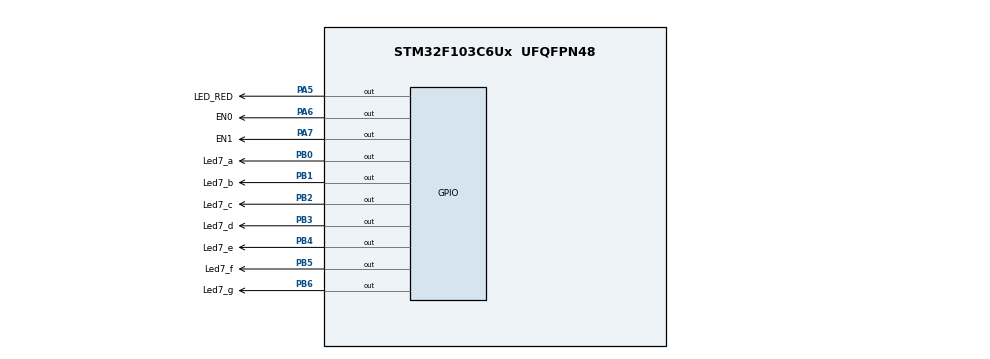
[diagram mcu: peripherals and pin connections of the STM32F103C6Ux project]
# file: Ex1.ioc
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Mcu.Family=STM32F1
Mcu.Name=STM32F103C6Ux
Mcu.Package=UFQFPN48
NVIC.PriorityGroup=NVIC_PRIORITYGROUP_4
NVIC.TIM2_IRQn=true\:0\:0\:false\:false\:true\:true\:true
PA5.GPIO_Label=LED_RED
PA5.Signal=GPIO_Output
PA6.GPIO_Label=EN0
PA6.Signal=GPIO_Output
PA7.GPIO_Label=EN1
PA7.Signal=GPIO_Output
PB0.GPIO_Label=Led7_a
PB0.Signal=GPIO_Output
PB1.GPIO_Label=Led7_b
PB1.Signal=GPIO_Output
PB2.GPIO_Label=Led7_c
PB2.Signal=GPIO_Output
PB3.GPIO_Label=Led7_d
PB3.Signal=GPIO_Output
PB4.GPIO_Label=Led7_e
PB4.Signal=GPIO_Output
PB5.GPIO_Label=Led7_f
PB5.Signal=GPIO_Output
PB6.GPIO_Label=Led7_g
PB6.Signal=GPIO_Output
ProjectManager.HeapSize=0x200
ProjectManager.StackSize=0x400
ProjectManager.TargetToolchain=STM32CubeIDE
RCC.APB1Freq_Value=8000000
RCC.APB2Freq_Value=8000000
TIM2.Period=9
TIM2.Prescaler=7999
VP_SYS_VS_ND.Mode=No_Debug
VP_TIM2_VS_ClockSourceINT.Mode=Internal
board=custom

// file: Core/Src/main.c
/* USER CODE BEGIN Header */
/**
 ******************************************************************************
 * @file           : main.c
 * @brief          : Main program body
 ******************************************************************************
 * @attention
 *
 * <h2><center>&copy; Copyright (c) 2021 STMicroelectronics.
 * All rights reserved.</center></h2>
 *
 * This software component is licensed by ST under BSD 3-Clause license,
 * the "License"; You may not use this file except in compliance with the
 * License. You may obtain a copy of the License at:
 *                        opensource.org/licenses/BSD-3-Clause
 *
 ******************************************************************************
 */
/* USER CODE END Header */
#include "main.h"

TIM_HandleTypeDef htim2;

/* USER CODE BEGIN PV */
static GPIO_TypeDef *const LED7_PORT[7] = {
Led7_a_GPIO_Port, Led7_b_GPIO_Port, Led7_c_GPIO_Port, Led7_d_GPIO_Port,
Led7_e_GPIO_Port, Led7_f_GPIO_Port, Led7_g_GPIO_Port };

static const uint16_t LED7_PINS[7] = {
Led7_a_Pin, Led7_b_Pin, Led7_c_Pin, Led7_d_Pin, Led7_e_Pin, Led7_f_Pin,
Led7_g_Pin };

static const uint8_t LED7_MAP[10] = { 0b00111111, // 0
		0b00000110, // 1
		0b01011011, // 2
		0b01001111, // 3
		0b01100110, // 4
		0b01101101, // 5
		0b01111101, // 6
		0b00000111, // 7
		0b01111111, // 8
		0b01101111,  // 9
		};
/* USER CODE END PV */

void SystemClock_Config(void);
static void MX_GPIO_Init(void);
static void MX_TIM2_Init(void);
/* USER CODE BEGIN PFP */
void HAL_TIM_PeriodElapsedCallback(TIM_HandleTypeDef*);
static void set_LED7_by_mask(uint8_t);
static void clear7SEG(void);
static void display7SEG(int);
static void initState(void);

/* USER CODE END PFP */

/* USER CODE BEGIN 0 */
static void set_LED7_by_mask(uint8_t mask) {
	for (int s = 0; s < 7; s++) {

		GPIO_TypeDef *port = (GPIO_TypeDef*) LED7_PORT[s];
		uint16_t pin = LED7_PINS[s];

		if ((mask >> s) & 1) {
			HAL_GPIO_WritePin(port, pin, GPIO_PIN_RESET); // Turn on segment
		} else {
			HAL_GPIO_WritePin(port, pin, GPIO_PIN_SET); // Turn off segment
		}
	}
}

void clear7SEG() {
	display7SEG(10);
}

void display7SEG(int number) {
	if (number > 9) {
		set_LED7_by_mask(0x00); // Tắt hết segment
	} else {
		uint8_t mask = LED7_MAP[number];
		set_LED7_by_mask(mask);
	}
}

void initState() {
	clear7SEG();
	HAL_GPIO_WritePin(EN0_GPIO_Port, EN0_Pin, GPIO_PIN_SET);
	HAL_GPIO_WritePin(EN1_GPIO_Port, EN1_Pin, GPIO_PIN_SET);
}

/* USER CODE END 0 */

int main(void) {

	/* MCU Configuration--------------------------------------------------------*/

	/* Reset of all peripherals, Initializes the Flash interface and the Systick. */
	HAL_Init();

	/* Configure the system clock */
	SystemClock_Config();

	/* Initialize all configured peripherals */
	MX_GPIO_Init();
	MX_TIM2_Init();
	/* USER CODE BEGIN 2 */
	HAL_TIM_Base_Start_IT(&htim2);
	initState();
	/* USER CODE END 2 */

	/* Infinite loop */
	while (1) {

	}
}

void SystemClock_Config(void) {
	RCC_OscInitTypeDef RCC_OscInitStruct = { 0 };
	RCC_ClkInitTypeDef RCC_ClkInitStruct = { 0 };

	/** Initializes the RCC Oscillators according to the specified parameters
	 * in the RCC_OscInitTypeDef structure.
	 */
	RCC_OscInitStruct.OscillatorType = RCC_OSCILLATORTYPE_HSI;
	RCC_OscInitStruct.HSIState = RCC_HSI_ON;
	RCC_OscInitStruct.HSICalibrationValue = RCC_HSICALIBRATION_DEFAULT;
	RCC_OscInitStruct.PLL.PLLState = RCC_PLL_NONE;
	if (HAL_RCC_OscConfig(&RCC_OscInitStruct) != HAL_OK) {
		Error_Handler();
	}
	/** Initializes the CPU, AHB and APB buses clocks
	 */
	RCC_ClkInitStruct.ClockType = RCC_CLOCKTYPE_HCLK | RCC_CLOCKTYPE_SYSCLK
			| RCC_CLOCKTYPE_PCLK1 | RCC_CLOCKTYPE_PCLK2;
	RCC_ClkInitStruct.SYSCLKSource = RCC_SYSCLKSOURCE_HSI;
	RCC_ClkInitStruct.AHBCLKDivider = RCC_SYSCLK_DIV1;
	RCC_ClkInitStruct.APB1CLKDivider = RCC_HCLK_DIV1;
	RCC_ClkInitStruct.APB2CLKDivider = RCC_HCLK_DIV1;

	if (HAL_RCC_ClockConfig(&RCC_ClkInitStruct, FLASH_LATENCY_0) != HAL_OK) {
		Error_Handler();
	}
}

static void MX_TIM2_Init(void) {

	TIM_ClockConfigTypeDef sClockSourceConfig = { 0 };
	TIM_MasterConfigTypeDef sMasterConfig = { 0 };

	htim2.Instance = TIM2;
	htim2.Init.Prescaler = 7999;
	htim2.Init.CounterMode = TIM_COUNTERMODE_UP;
	htim2.Init.Period = 9;
	htim2.Init.ClockDivision = TIM_CLOCKDIVISION_DIV1;
	htim2.Init.AutoReloadPreload = TIM_AUTORELOAD_PRELOAD_DISABLE;
	if (HAL_TIM_Base_Init(&htim2) != HAL_OK) {
		Error_Handler();
	}
	sClockSourceConfig.ClockSource = TIM_CLOCKSOURCE_INTERNAL;
	if (HAL_TIM_ConfigClockSource(&htim2, &sClockSourceConfig) != HAL_OK) {
		Error_Handler();
	}
	sMasterConfig.MasterOutputTrigger = TIM_TRGO_RESET;
	sMasterConfig.MasterSlaveMode = TIM_MASTERSLAVEMODE_DISABLE;
	if (HAL_TIMEx_MasterConfigSynchronization(&htim2, &sMasterConfig)
			!= HAL_OK) {
		Error_Handler();
	}

}

static void MX_GPIO_Init(void) {
	GPIO_InitTypeDef GPIO_InitStruct = { 0 };

	/* GPIO Ports Clock Enable */
	__HAL_RCC_GPIOA_CLK_ENABLE();
	__HAL_RCC_GPIOB_CLK_ENABLE();

	/*Configure GPIO pin Output Level */
	HAL_GPIO_WritePin(GPIOA, LED_RED_Pin | EN0_Pin | EN1_Pin, GPIO_PIN_RESET);

	/*Configure GPIO pin Output Level */
	HAL_GPIO_WritePin(GPIOB,
			Led7_a_Pin | Led7_b_Pin | Led7_c_Pin | Led7_d_Pin | Led7_e_Pin
					| Led7_f_Pin | Led7_g_Pin, GPIO_PIN_RESET);

	/*Configure GPIO pins : LED_RED_Pin EN0_Pin EN1_Pin */
	GPIO_InitStruct.Pin = LED_RED_Pin | EN0_Pin | EN1_Pin;
	GPIO_InitStruct.Mode = GPIO_MODE_OUTPUT_PP;
	GPIO_InitStruct.Pull = GPIO_NOPULL;
	GPIO_InitStruct.Speed = GPIO_SPEED_FREQ_LOW;
	HAL_GPIO_Init(GPIOA, &GPIO_InitStruct);

	/*Configure GPIO pins : Led7_a_Pin Led7_b_Pin Led7_c_Pin Led7_d_Pin
	 Led7_e_Pin Led7_f_Pin Led7_g_Pin */
	GPIO_InitStruct.Pin = Led7_a_Pin | Led7_b_Pin | Led7_c_Pin | Led7_d_Pin
			| Led7_e_Pin | Led7_f_Pin | Led7_g_Pin;
	GPIO_InitStruct.Mode = GPIO_MODE_OUTPUT_PP;
	GPIO_InitStruct.Pull = GPIO_NOPULL;
	GPIO_InitStruct.Speed = GPIO_SPEED_FREQ_LOW;
	HAL_GPIO_Init(GPIOB, &GPIO_InitStruct);

}

/* USER CODE BEGIN 4 */
int counter = 100; // timer * counter = 10 * 100 = 1sed
int time_LED = 100;

typedef enum {
	NUM1, NUM2
} num;

num estate = NUM1;

void HAL_TIM_PeriodElapsedCallback(TIM_HandleTypeDef *htim) {
	if (counter <= 0) {
		int temp_counter = counter;
		counter = 100;
		time_LED += 100 - temp_counter;
	}

	switch (estate) {
	case NUM1:
		display7SEG(1);
		HAL_GPIO_WritePin(EN0_GPIO_Port, EN0_Pin, GPIO_PIN_RESET);
		HAL_GPIO_WritePin(EN1_GPIO_Port, EN1_Pin, GPIO_PIN_SET);
		if (time_LED - counter >= 50) {
			estate = NUM2;
			time_LED = counter;
		}
		break;
	case NUM2:
		display7SEG(2);
		HAL_GPIO_WritePin(EN0_GPIO_Port, EN0_Pin, GPIO_PIN_SET);
		HAL_GPIO_WritePin(EN1_GPIO_Port, EN1_Pin, GPIO_PIN_RESET);
		if (time_LED - counter >= 50) {
			estate = NUM1;
			time_LED = counter;
		}
		break;
	default:
		break;
	}
	counter--;
}
/* USER CODE END 4 */

void Error_Handler(void) {
	__disable_irq();
	while (1) {
	}
}

/************************ (C) COPYRIGHT STMicroelectronics *****END OF FILE****/
